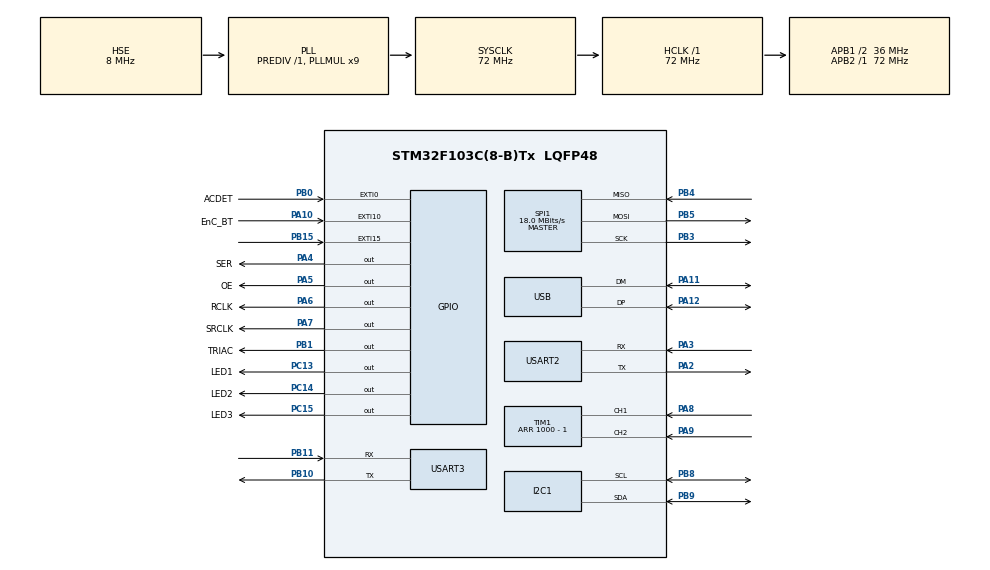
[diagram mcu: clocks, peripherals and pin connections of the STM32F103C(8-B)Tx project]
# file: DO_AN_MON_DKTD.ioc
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Mcu.Family=STM32F1
Mcu.Name=STM32F103C(8-B)Tx
Mcu.Package=LQFP48
NVIC.EXTI0_IRQn=true\:0\:0\:false\:false\:true\:true\:true\:true
NVIC.EXTI15_10_IRQn=true\:0\:0\:false\:false\:true\:true\:true\:true
NVIC.I2C1_EV_IRQn=true\:0\:0\:false\:false\:true\:true\:true\:true
NVIC.PVD_IRQn=true\:0\:0\:false\:false\:true\:true\:true\:true
NVIC.PriorityGroup=NVIC_PRIORITYGROUP_4
NVIC.SPI1_IRQn=true\:0\:0\:false\:false\:true\:true\:true\:true
NVIC.TIM1_UP_IRQn=true\:0\:0\:false\:false\:true\:true\:true\:true
NVIC.TIM2_IRQn=true\:0\:0\:false\:false\:true\:true\:true\:true
NVIC.TIM4_IRQn=true\:0\:0\:false\:false\:true\:true\:true\:true
NVIC.USART2_IRQn=true\:0\:0\:false\:false\:true\:true\:true\:true
NVIC.USART3_IRQn=true\:0\:0\:false\:false\:true\:true\:true\:true
PA10.GPIO_Label=EnC_BT
PA10.Signal=GPXTI10
PA11.Mode=Device
PA11.Signal=USB_DM
PA12.Mode=Device
PA12.Signal=USB_DP
PA13.Mode=Serial_Wire
PA13.Signal=SYS_JTMS-SWDIO
PA14.Mode=Serial_Wire
PA14.Signal=SYS_JTCK-SWCLK
PA2.Mode=Asynchronous
PA2.Signal=USART2_TX
PA3.Mode=Asynchronous
PA3.Signal=USART2_RX
PA4.GPIO_Label=SER
PA4.GPIO_ModeDefaultOutputPP=GPIO_MODE_OUTPUT_OD
PA4.GPIO_PuPd=GPIO_NOPULL
PA4.GPIO_Speed=GPIO_SPEED_FREQ_HIGH
PA4.Signal=GPIO_Output
PA5.GPIO_Label=OE
PA5.GPIO_ModeDefaultOutputPP=GPIO_MODE_OUTPUT_OD
PA5.GPIO_PuPd=GPIO_NOPULL
PA5.GPIO_Speed=GPIO_SPEED_FREQ_HIGH
PA5.Signal=GPIO_Output
PA6.GPIO_Label=RCLK
PA6.GPIO_ModeDefaultOutputPP=GPIO_MODE_OUTPUT_OD
PA6.GPIO_PuPd=GPIO_NOPULL
PA6.GPIO_Speed=GPIO_SPEED_FREQ_HIGH
PA6.Signal=GPIO_Output
PA7.GPIO_Label=SRCLK
PA7.GPIO_ModeDefaultOutputPP=GPIO_MODE_OUTPUT_OD
PA7.GPIO_PuPd=GPIO_NOPULL
PA7.GPIO_Speed=GPIO_SPEED_FREQ_HIGH
PA7.Signal=GPIO_Output
PA8.Signal=S_TIM1_CH1
PA9.Signal=S_TIM1_CH2
PB0.GPIO_Label=ACDET
PB0.GPIO_ModeDefaultEXTI=GPIO_MODE_IT_FALLING
PB0.Signal=GPXTI0
PB1.GPIO_Label=TRIAC
PB1.GPIO_ModeDefaultOutputPP=GPIO_MODE_OUTPUT_PP
PB1.GPIO_PuPd=GPIO_NOPULL
PB1.GPIO_Speed=GPIO_SPEED_FREQ_HIGH
PB1.Signal=GPIO_Output
PB10.Mode=Asynchronous
PB10.Signal=USART3_TX
PB11.Mode=Asynchronous
PB11.Signal=USART3_RX
PB15.Signal=GPXTI15
PB3.Mode=Full_Duplex_Master
PB3.Signal=SPI1_SCK
PB4.Mode=Full_Duplex_Master
PB4.Signal=SPI1_MISO
PB5.Mode=Full_Duplex_Master
PB5.Signal=SPI1_MOSI
PB8.Mode=I2C
PB8.Signal=I2C1_SCL
PB9.Mode=I2C
PB9.Signal=I2C1_SDA
PC13-TAMPER-RTC.GPIO_Label=LED1
PC13-TAMPER-RTC.GPIO_Speed=GPIO_SPEED_FREQ_HIGH
PC13-TAMPER-RTC.PinState=GPIO_PIN_SET
PC13-TAMPER-RTC.Signal=GPIO_Output
PC14-OSC32_IN.GPIO_Label=LED2
PC14-OSC32_IN.GPIO_Speed=GPIO_SPEED_FREQ_HIGH
PC14-OSC32_IN.PinState=GPIO_PIN_SET
PC14-OSC32_IN.Signal=GPIO_Output
PC15-OSC32_OUT.GPIO_Label=LED3
PC15-OSC32_OUT.GPIO_Speed=GPIO_SPEED_FREQ_HIGH
PC15-OSC32_OUT.PinState=GPIO_PIN_SET
PC15-OSC32_OUT.Signal=GPIO_Output
PD0-OSC_IN.Mode=HSE-External-Oscillator
PD0-OSC_IN.Signal=RCC_OSC_IN
PD1-OSC_OUT.Mode=HSE-External-Oscillator
PD1-OSC_OUT.Signal=RCC_OSC_OUT
ProjectManager.HeapSize=0x200
ProjectManager.StackSize=0x400
ProjectManager.TargetToolchain=STM32CubeIDE
RCC.AHBFreq_Value=72000000
RCC.APB1CLKDivider=RCC_HCLK_DIV2
RCC.APB1Freq_Value=36000000
RCC.APB1TimFreq_Value=72000000
RCC.APB2Freq_Value=72000000
RCC.APB2TimFreq_Value=72000000
RCC.HCLKFreq_Value=72000000
RCC.PLLMUL=RCC_PLL_MUL9
RCC.SYSCLKFreq_VALUE=72000000
RCC.SYSCLKSource=RCC_SYSCLKSOURCE_PLLCLK
RCC.USBFreq_Value=48000000
RCC.USBPrescaler=RCC_USBCLKSOURCE_PLL_DIV1_5
SH.S_TIM1_CH1.0=TIM1_CH1,Encoder_Interface
SH.S_TIM1_CH2.0=TIM1_CH2,Encoder_Interface
SPI1.BaudRatePrescaler=SPI_BAUDRATEPRESCALER_4
SPI1.CalculateBaudRate=18.0 MBits/s
SPI1.Direction=SPI_DIRECTION_2LINES
SPI1.Mode=SPI_MODE_MASTER
SPI1.VirtualType=VM_MASTER
TIM1.EncoderMode=TIM_ENCODERMODE_TI12
TIM1.Period=1000 - 1
TIM2.Period=10000
TIM2.Prescaler=72 - 1
TIM4.Period=10000
TIM4.Prescaler=72 - 1
USART2.VirtualMode=VM_ASYNC
USART3.VirtualMode=VM_ASYNC
VP_TIM2_VS_ClockSourceINT.Mode=Internal
VP_TIM4_VS_ClockSourceINT.Mode=Internal
board=custom

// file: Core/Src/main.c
/* USER CODE BEGIN Header */
/**
  ******************************************************************************
  * @file           : main.c
  * @brief          : Main program body
  ******************************************************************************
  * @attention
  *
  * Copyright (c) 2023 STMicroelectronics.
  * All rights reserved.
  *
  * This software is licensed under terms that can be found in the LICENSE file
  * in the root directory of this software component.
  * If no LICENSE file comes with this software, it is provided AS-IS.
  *
  ******************************************************************************
  */
/* USER CODE END Header */
#include "main.h"

/* USER CODE BEGIN Includes */
#include <stdio.h>
#include <stdlib.h>
#include <string.h>
#include "SHT31.h"
/* USER CODE END Includes */

/* USER CODE BEGIN PTD */
typedef struct {
  double giaTriTinh_HienTai, giaTriTinh_Truoc, giaTriDieuKhien;
  double e, e1, e2, nhietDo, giaTriDat;
} PID_type;
/* USER CODE END PTD */

/* USER CODE BEGIN PM */

#define CHECKFLAG(FLAG, variable) (variable & FLAG ? 1 : 0)
#define SETFLAG(FLAG, variable) (variable |= (FLAG))
#define CLEARFLAG(FLAG, variable) (variable &= ~(FLAG))

#define FLAG_ACDET_TRIGGER 	(1 << 0)
#define FLAG_TIM_OVERFLOW 	(1 << 1)
#define FLAG_COMPLETE_RECEIVE_UART (1 << 2)
#define FLAG_BLINK_7SEGMENT (1 << 3)
#define FLAG_SETUP_SETPOINT (1 << 4)

#define SEGMENT_A	(1 << 0)
#define SEGMENT_B	(1 << 2)
#define SEGMENT_C	(1 << 4)
#define SEGMENT_D	(1 << 6)
#define SEGMENT_E	(1 << 7)
#define SEGMENT_F	(1 << 1)
#define SEGMENT_G	(1 << 3)
#define SEGMENT_DOT	(1 << 5)

#define SO_LAN_DO_SHT31 50

#define SETPOINT 50
/* USER CODE END PM */

I2C_HandleTypeDef hi2c1;

SPI_HandleTypeDef hspi1;

TIM_HandleTypeDef htim1;
TIM_HandleTypeDef htim2;
TIM_HandleTypeDef htim4;

UART_HandleTypeDef huart2;
UART_HandleTypeDef huart3;

PCD_HandleTypeDef hpcd_USB_FS;

/* USER CODE BEGIN PV */

//array data export to 7 segment

double KP = 0.65, KI = 0.0001, KD = 0, TG_LAY_MAU = 1;

PID_type triac = {0, 0, 0, 0, 0, 0, 0, 0};

SHT31_type SHT31;

uint8_t s7seg[7] = {0};
//7 segment code
const char code7seg[] = {0xD7, 0x14, 0xCD, 0x5D, 0x1E, 0x5B, 0xDB, 0x15, 0xDF, 0x5F};

uint8_t flag = 0;

uint8_t str[50] = {0};
uint8_t rx_str_uart3[10] = {0};
uint8_t Get_rx_str[1] = {0};
volatile uint16_t encoderValue = 0;
//uint8_t i;
/* USER CODE END PV */

void SystemClock_Config(void);
static void MX_GPIO_Init(void);
static void MX_I2C1_Init(void);
static void MX_SPI1_Init(void);
static void MX_USART2_UART_Init(void);
static void MX_USART3_UART_Init(void);
static void MX_USB_PCD_Init(void);
static void MX_TIM2_Init(void);
static void MX_TIM4_Init(void);
static void MX_TIM1_Init(void);

/* USER CODE BEGIN 0 */
void HAL_TIM_PeriodElapsedCallback(TIM_HandleTypeDef* htim);
void HAL_GPIO_EXTI_Callback(uint16_t GPIO_Pin);

void HAL_UART_RxCpltCallback(UART_HandleTypeDef *huart);

HAL_StatusTypeDef PID_Caculator(PID_type* x);
void sendData74595(uint16_t data);
void Scan7seg();

void xuLyChuoiNhanVeTuLaptop();
/* USER CODE END 0 */

int main(void)
{
  /* USER CODE BEGIN 1 */
	uint32_t t = 0;
	uint32_t tBlink = 0;
  /* USER CODE END 1 */

  /* MCU Configuration--------------------------------------------------------*/

  /* Reset of all peripherals, Initializes the Flash interface and the Systick. */
  HAL_Init();

  /* Configure the system clock */
  SystemClock_Config();

  /* Initialize all configured peripherals */
  MX_GPIO_Init();
  MX_I2C1_Init();
  MX_SPI1_Init();
  MX_USART2_UART_Init();
  MX_USART3_UART_Init();
  MX_USB_PCD_Init();
  MX_TIM2_Init();
  MX_TIM4_Init();
  MX_TIM1_Init();
  /* USER CODE BEGIN 2 */

  HAL_UART_Receive_IT(&huart3, Get_rx_str, 1);
  HAL_UART_Receive_IT(&huart2, Get_rx_str, 1);
//  HAL_TIM_Base_Start_IT(&htim4);
  HAL_TIM_Base_Stop_IT(&htim4);
  HAL_TIM_Encoder_Start_IT(&htim1, TIM_CHANNEL_ALL);

  triac.giaTriDat = SETPOINT;
  __HAL_TIM_SET_COUNTER(&htim1, SETPOINT * 10);
  s7seg[3] = s7seg[4] = s7seg[5] = s7seg[6] = SEGMENT_G;

  while(SHT31_init(&SHT31, &hi2c1) != HAL_OK){
	if(HAL_GetTick() - t >= 500){
		t = HAL_GetTick();
		if(s7seg[0] == 0x00){
			s7seg[0] = SEGMENT_A | SEGMENT_D | SEGMENT_E | SEGMENT_F | SEGMENT_G;
			s7seg[1] = s7seg[2] = SEGMENT_E | SEGMENT_G;
		}
		else{
			s7seg[0] = s7seg[1] = s7seg[2] = 0x00;
		}
	}
	Scan7seg();
  }
  /* USER CODE END 2 */

  /* Infinite loop */
  /* USER CODE BEGIN WHILE */
  while (1)
  {
	  if(HAL_GetTick() - t >= (uint32_t)(1000 * TG_LAY_MAU)){
		  t = HAL_GetTick();

		  SHT31_WriteCMD(&SHT31, SHT31_MEASUREMENT_FAST);
		  while(SHT31_ReadTemperature(&SHT31, &triac.nhietDo) != HAL_OK);

		  PID_Caculator(&triac);

		  sprintf(str, "%-2.2lf°C, %-2.2lf°C, %-2.2lf°C, %-2.2lf\n", triac.nhietDo, triac.giaTriDat, triac.e, triac.giaTriDieuKhien);
		  HAL_UART_Transmit(&huart3, str, sizeof(str), 10000);
		  s7seg[0] = code7seg[(uint16_t)triac.nhietDo / 10];
		  s7seg[1] = code7seg[(uint16_t)triac.nhietDo % 10] | SEGMENT_DOT;
		  s7seg[2] = code7seg[(uint16_t)(triac.nhietDo * 10) % 10];
	  }

	  if(CHECKFLAG(FLAG_COMPLETE_RECEIVE_UART, flag)){
		  xuLyChuoiNhanVeTuLaptop();
		  memset(str, 0, sizeof(str));
		  CLEARFLAG(FLAG_COMPLETE_RECEIVE_UART, flag);
	  }

	  if(!CHECKFLAG(FLAG_SETUP_SETPOINT, flag)){
		  encoderValue = __HAL_TIM_GetCounter(&htim1);
		  triac.giaTriDat = (double)encoderValue / 10;
			if(HAL_GetTick() - tBlink >= 300){
				tBlink = HAL_GetTick();
				if(s7seg[3] == 0x00){
					s7seg[3] = code7seg[encoderValue / 100];
					s7seg[4] = code7seg[encoderValue / 10 % 10] | SEGMENT_DOT;
					s7seg[5] = code7seg[encoderValue % 10];
				}
				else{
					s7seg[3] = s7seg[4] = s7seg[5] = 0x00;
				}
			}

	  }
    /* USER CODE END WHILE */

    /* USER CODE BEGIN 3 */
	  Scan7seg();
  }
  /* USER CODE END 3 */
}

void SystemClock_Config(void)
{
  RCC_OscInitTypeDef RCC_OscInitStruct = {0};
  RCC_ClkInitTypeDef RCC_ClkInitStruct = {0};
  RCC_PeriphCLKInitTypeDef PeriphClkInit = {0};

  /** Initializes the RCC Oscillators according to the specified parameters
  * in the RCC_OscInitTypeDef structure.
  */
  RCC_OscInitStruct.OscillatorType = RCC_OSCILLATORTYPE_HSE;
  RCC_OscInitStruct.HSEState = RCC_HSE_ON;
  RCC_OscInitStruct.HSEPredivValue = RCC_HSE_PREDIV_DIV1;
  RCC_OscInitStruct.HSIState = RCC_HSI_ON;
  RCC_OscInitStruct.PLL.PLLState = RCC_PLL_ON;
  RCC_OscInitStruct.PLL.PLLSource = RCC_PLLSOURCE_HSE;
  RCC_OscInitStruct.PLL.PLLMUL = RCC_PLL_MUL9;
  if (HAL_RCC_OscConfig(&RCC_OscInitStruct) != HAL_OK)
  {
    Error_Handler();
  }

  /** Initializes the CPU, AHB and APB buses clocks
  */
  RCC_ClkInitStruct.ClockType = RCC_CLOCKTYPE_HCLK|RCC_CLOCKTYPE_SYSCLK
                              |RCC_CLOCKTYPE_PCLK1|RCC_CLOCKTYPE_PCLK2;
  RCC_ClkInitStruct.SYSCLKSource = RCC_SYSCLKSOURCE_PLLCLK;
  RCC_ClkInitStruct.AHBCLKDivider = RCC_SYSCLK_DIV1;
  RCC_ClkInitStruct.APB1CLKDivider = RCC_HCLK_DIV2;
  RCC_ClkInitStruct.APB2CLKDivider = RCC_HCLK_DIV1;

  if (HAL_RCC_ClockConfig(&RCC_ClkInitStruct, FLASH_LATENCY_2) != HAL_OK)
  {
    Error_Handler();
  }
  PeriphClkInit.PeriphClockSelection = RCC_PERIPHCLK_USB;
  PeriphClkInit.UsbClockSelection = RCC_USBCLKSOURCE_PLL_DIV1_5;
  if (HAL_RCCEx_PeriphCLKConfig(&PeriphClkInit) != HAL_OK)
  {
    Error_Handler();
  }
}

static void MX_I2C1_Init(void)
{

  hi2c1.Instance = I2C1;
  hi2c1.Init.ClockSpeed = 100000;
  hi2c1.Init.DutyCycle = I2C_DUTYCYCLE_2;
  hi2c1.Init.OwnAddress1 = 0;
  hi2c1.Init.AddressingMode = I2C_ADDRESSINGMODE_7BIT;
  hi2c1.Init.DualAddressMode = I2C_DUALADDRESS_DISABLE;
  hi2c1.Init.OwnAddress2 = 0;
  hi2c1.Init.GeneralCallMode = I2C_GENERALCALL_DISABLE;
  hi2c1.Init.NoStretchMode = I2C_NOSTRETCH_DISABLE;
  if (HAL_I2C_Init(&hi2c1) != HAL_OK)
  {
    Error_Handler();
  }

}

static void MX_SPI1_Init(void)
{

  /* SPI1 parameter configuration*/
  hspi1.Instance = SPI1;
  hspi1.Init.Mode = SPI_MODE_MASTER;
  hspi1.Init.Direction = SPI_DIRECTION_2LINES;
  hspi1.Init.DataSize = SPI_DATASIZE_8BIT;
  hspi1.Init.CLKPolarity = SPI_POLARITY_LOW;
  hspi1.Init.CLKPhase = SPI_PHASE_1EDGE;
  hspi1.Init.NSS = SPI_NSS_SOFT;
  hspi1.Init.BaudRatePrescaler = SPI_BAUDRATEPRESCALER_4;
  hspi1.Init.FirstBit = SPI_FIRSTBIT_MSB;
  hspi1.Init.TIMode = SPI_TIMODE_DISABLE;
  hspi1.Init.CRCCalculation = SPI_CRCCALCULATION_DISABLE;
  hspi1.Init.CRCPolynomial = 10;
  if (HAL_SPI_Init(&hspi1) != HAL_OK)
  {
    Error_Handler();
  }

}

static void MX_TIM1_Init(void)
{

  TIM_Encoder_InitTypeDef sConfig = {0};
  TIM_MasterConfigTypeDef sMasterConfig = {0};

  htim1.Instance = TIM1;
  htim1.Init.Prescaler = 0;
  htim1.Init.CounterMode = TIM_COUNTERMODE_UP;
  htim1.Init.Period = 1000 - 1;
  htim1.Init.ClockDivision = TIM_CLOCKDIVISION_DIV1;
  htim1.Init.RepetitionCounter = 0;
  htim1.Init.AutoReloadPreload = TIM_AUTORELOAD_PRELOAD_DISABLE;
  sConfig.EncoderMode = TIM_ENCODERMODE_TI12;
  sConfig.IC1Polarity = TIM_ICPOLARITY_RISING;
  sConfig.IC1Selection = TIM_ICSELECTION_DIRECTTI;
  sConfig.IC1Prescaler = TIM_ICPSC_DIV1;
  sConfig.IC1Filter = 0;
  sConfig.IC2Polarity = TIM_ICPOLARITY_RISING;
  sConfig.IC2Selection = TIM_ICSELECTION_DIRECTTI;
  sConfig.IC2Prescaler = TIM_ICPSC_DIV1;
  sConfig.IC2Filter = 0;
  if (HAL_TIM_Encoder_Init(&htim1, &sConfig) != HAL_OK)
  {
    Error_Handler();
  }
  sMasterConfig.MasterOutputTrigger = TIM_TRGO_RESET;
  sMasterConfig.MasterSlaveMode = TIM_MASTERSLAVEMODE_DISABLE;
  if (HAL_TIMEx_MasterConfigSynchronization(&htim1, &sMasterConfig) != HAL_OK)
  {
    Error_Handler();
  }

}

static void MX_TIM2_Init(void)
{

  TIM_ClockConfigTypeDef sClockSourceConfig = {0};
  TIM_MasterConfigTypeDef sMasterConfig = {0};

  htim2.Instance = TIM2;
  htim2.Init.Prescaler = 72 - 1;
  htim2.Init.CounterMode = TIM_COUNTERMODE_UP;
  htim2.Init.Period = 10000;
  htim2.Init.ClockDivision = TIM_CLOCKDIVISION_DIV1;
  htim2.Init.AutoReloadPreload = TIM_AUTORELOAD_PRELOAD_DISABLE;
  if (HAL_TIM_Base_Init(&htim2) != HAL_OK)
  {
    Error_Handler();
  }
  sClockSourceConfig.ClockSource = TIM_CLOCKSOURCE_INTERNAL;
  if (HAL_TIM_ConfigClockSource(&htim2, &sClockSourceConfig) != HAL_OK)
  {
    Error_Handler();
  }
  sMasterConfig.MasterOutputTrigger = TIM_TRGO_RESET;
  sMasterConfig.MasterSlaveMode = TIM_MASTERSLAVEMODE_DISABLE;
  if (HAL_TIMEx_MasterConfigSynchronization(&htim2, &sMasterConfig) != HAL_OK)
  {
    Error_Handler();
  }

}

static void MX_TIM4_Init(void)
{

  TIM_ClockConfigTypeDef sClockSourceConfig = {0};
  TIM_MasterConfigTypeDef sMasterConfig = {0};

  htim4.Instance = TIM4;
  htim4.Init.Prescaler = 72 - 1;
  htim4.Init.CounterMode = TIM_COUNTERMODE_UP;
  htim4.Init.Period = 10000;
  htim4.Init.ClockDivision = TIM_CLOCKDIVISION_DIV1;
  htim4.Init.AutoReloadPreload = TIM_AUTORELOAD_PRELOAD_DISABLE;
  if (HAL_TIM_Base_Init(&htim4) != HAL_OK)
  {
    Error_Handler();
  }
  sClockSourceConfig.ClockSource = TIM_CLOCKSOURCE_INTERNAL;
  if (HAL_TIM_ConfigClockSource(&htim4, &sClockSourceConfig) != HAL_OK)
  {
    Error_Handler();
  }
  sMasterConfig.MasterOutputTrigger = TIM_TRGO_RESET;
  sMasterConfig.MasterSlaveMode = TIM_MASTERSLAVEMODE_DISABLE;
  if (HAL_TIMEx_MasterConfigSynchronization(&htim4, &sMasterConfig) != HAL_OK)
  {
    Error_Handler();
  }

}

static void MX_USART2_UART_Init(void)
{

  huart2.Instance = USART2;
  huart2.Init.BaudRate = 115200;
  huart2.Init.WordLength = UART_WORDLENGTH_8B;
  huart2.Init.StopBits = UART_STOPBITS_1;
  huart2.Init.Parity = UART_PARITY_NONE;
  huart2.Init.Mode = UART_MODE_TX_RX;
  huart2.Init.HwFlowCtl = UART_HWCONTROL_NONE;
  huart2.Init.OverSampling = UART_OVERSAMPLING_16;
  if (HAL_UART_Init(&huart2) != HAL_OK)
  {
    Error_Handler();
  }

}

static void MX_USART3_UART_Init(void)
{

  huart3.Instance = USART3;
  huart3.Init.BaudRate = 115200;
  huart3.Init.WordLength = UART_WORDLENGTH_8B;
  huart3.Init.StopBits = UART_STOPBITS_1;
  huart3.Init.Parity = UART_PARITY_NONE;
  huart3.Init.Mode = UART_MODE_TX_RX;
  huart3.Init.HwFlowCtl = UART_HWCONTROL_NONE;
  huart3.Init.OverSampling = UART_OVERSAMPLING_16;
  if (HAL_UART_Init(&huart3) != HAL_OK)
  {
    Error_Handler();
  }

}

static void MX_USB_PCD_Init(void)
{

  hpcd_USB_FS.Instance = USB;
  hpcd_USB_FS.Init.dev_endpoints = 8;
  hpcd_USB_FS.Init.speed = PCD_SPEED_FULL;
  hpcd_USB_FS.Init.low_power_enable = DISABLE;
  hpcd_USB_FS.Init.lpm_enable = DISABLE;
  hpcd_USB_FS.Init.battery_charging_enable = DISABLE;
  if (HAL_PCD_Init(&hpcd_USB_FS) != HAL_OK)
  {
    Error_Handler();
  }

}

static void MX_GPIO_Init(void)
{
  GPIO_InitTypeDef GPIO_InitStruct = {0};

  /* GPIO Ports Clock Enable */
  __HAL_RCC_GPIOC_CLK_ENABLE();
  __HAL_RCC_GPIOD_CLK_ENABLE();
  __HAL_RCC_GPIOA_CLK_ENABLE();
  __HAL_RCC_GPIOB_CLK_ENABLE();

  /*Configure GPIO pin Output Level */
  HAL_GPIO_WritePin(GPIOC, LED1_Pin|LED2_Pin|LED3_Pin, GPIO_PIN_SET);

  /*Configure GPIO pin Output Level */
  HAL_GPIO_WritePin(GPIOA, SER_Pin|OE_Pin|RCLK_Pin|SRCLK_Pin, GPIO_PIN_RESET);

  /*Configure GPIO pin Output Level */
  HAL_GPIO_WritePin(TRIAC_GPIO_Port, TRIAC_Pin, GPIO_PIN_RESET);

  /*Configure GPIO pins : LED1_Pin LED2_Pin LED3_Pin */
  GPIO_InitStruct.Pin = LED1_Pin|LED2_Pin|LED3_Pin;
  GPIO_InitStruct.Mode = GPIO_MODE_OUTPUT_PP;
  GPIO_InitStruct.Pull = GPIO_NOPULL;
  GPIO_InitStruct.Speed = GPIO_SPEED_FREQ_HIGH;
  HAL_GPIO_Init(GPIOC, &GPIO_InitStruct);

  /*Configure GPIO pins : SER_Pin OE_Pin RCLK_Pin SRCLK_Pin */
  GPIO_InitStruct.Pin = SER_Pin|OE_Pin|RCLK_Pin|SRCLK_Pin;
  GPIO_InitStruct.Mode = GPIO_MODE_OUTPUT_OD;
  GPIO_InitStruct.Pull = GPIO_NOPULL;
  GPIO_InitStruct.Speed = GPIO_SPEED_FREQ_HIGH;
  HAL_GPIO_Init(GPIOA, &GPIO_InitStruct);

  /*Configure GPIO pin : ACDET_Pin */
  GPIO_InitStruct.Pin = ACDET_Pin;
  GPIO_InitStruct.Mode = GPIO_MODE_IT_FALLING;
  GPIO_InitStruct.Pull = GPIO_NOPULL;
  HAL_GPIO_Init(ACDET_GPIO_Port, &GPIO_InitStruct);

  /*Configure GPIO pin : TRIAC_Pin */
  GPIO_InitStruct.Pin = TRIAC_Pin;
  GPIO_InitStruct.Mode = GPIO_MODE_OUTPUT_PP;
  GPIO_InitStruct.Pull = GPIO_NOPULL;
  GPIO_InitStruct.Speed = GPIO_SPEED_FREQ_HIGH;
  HAL_GPIO_Init(TRIAC_GPIO_Port, &GPIO_InitStruct);

  /*Configure GPIO pin : PB15 */
  GPIO_InitStruct.Pin = GPIO_PIN_15;
  GPIO_InitStruct.Mode = GPIO_MODE_IT_RISING;
  GPIO_InitStruct.Pull = GPIO_NOPULL;
  HAL_GPIO_Init(GPIOB, &GPIO_InitStruct);

  /*Configure GPIO pin : EnC_BT_Pin */
  GPIO_InitStruct.Pin = EnC_BT_Pin;
  GPIO_InitStruct.Mode = GPIO_MODE_IT_RISING;
  GPIO_InitStruct.Pull = GPIO_NOPULL;
  HAL_GPIO_Init(EnC_BT_GPIO_Port, &GPIO_InitStruct);

  /* EXTI interrupt init*/
  HAL_NVIC_SetPriority(EXTI0_IRQn, 0, 0);
  HAL_NVIC_EnableIRQ(EXTI0_IRQn);

  HAL_NVIC_SetPriority(EXTI15_10_IRQn, 0, 0);
  HAL_NVIC_EnableIRQ(EXTI15_10_IRQn);

}

/* USER CODE BEGIN 4 */

HAL_StatusTypeDef PID_Caculator(PID_type* x) {
  static double alpha, beta, gamma;

  x->e = x->giaTriDat - x->nhietDo;
  alpha = 2 * TG_LAY_MAU * KP + KI * TG_LAY_MAU * TG_LAY_MAU + 2 * KD;
  beta = TG_LAY_MAU * TG_LAY_MAU * KI - 4 * KD - 2 * TG_LAY_MAU * KP;
  gamma = 2 * KD;
  x->giaTriTinh_HienTai = (alpha * x->e + beta * x->e1 +
		gamma * x->e2 + 2 * TG_LAY_MAU * x->giaTriTinh_Truoc) / (2 * TG_LAY_MAU);

  x->giaTriTinh_Truoc = x->giaTriTinh_HienTai;
  x->e2 = x->e1;
  x->e1 = x->e;

  if (x->giaTriTinh_HienTai > 9)
    x->giaTriTinh_HienTai = 9;
  else if (x->giaTriTinh_HienTai <= 1)
    x->giaTriTinh_HienTai = 1;

  x->giaTriDieuKhien = x->giaTriTinh_HienTai; /***************/

  return HAL_OK;
}

void HAL_TIM_PeriodElapsedCallback(TIM_HandleTypeDef* htim){
	  if (htim->Instance == TIM4) {
	    if (CHECKFLAG(FLAG_ACDET_TRIGGER, flag)) {
	      CLEARFLAG(FLAG_ACDET_TRIGGER, flag);
	      HAL_GPIO_WritePin(TRIAC_GPIO_Port, TRIAC_Pin, 1);
	      for(uint8_t i = 0; i < 60; i++);
	      HAL_GPIO_WritePin(TRIAC_GPIO_Port, TRIAC_Pin, 0);
	    }
	  }
}
void HAL_GPIO_EXTI_Callback(uint16_t GPIO_Pin){
	if(GPIO_Pin == ACDET_Pin){
		SETFLAG(FLAG_ACDET_TRIGGER, flag);
		__HAL_TIM_SET_COUNTER(&htim4, (uint16_t)(triac.giaTriDieuKhien * 1000));
//		__HAL_TIM_SET_COUNTER(&htim4, 9000);
	}
	if(GPIO_Pin == EnC_BT_Pin){
		if(CHECKFLAG(FLAG_SETUP_SETPOINT, flag)){
			HAL_TIM_Base_Stop_IT(&htim4);
			CLEARFLAG(FLAG_SETUP_SETPOINT, flag);
			s7seg[3] = s7seg[4] = s7seg[5] = s7seg[6] = SEGMENT_G;
		}
		else{
			SETFLAG(FLAG_SETUP_SETPOINT, flag);
			s7seg[3] = code7seg[encoderValue / 100];
			s7seg[4] = code7seg[encoderValue / 10 % 10] | SEGMENT_DOT;
			s7seg[5] = code7seg[encoderValue % 10];
			s7seg[6] = SEGMENT_A | SEGMENT_B | SEGMENT_F | SEGMENT_G;
			HAL_TIM_Base_Start_IT(&htim4);
		}
	}
}

/*
 * brief: send data 16 bit to two 74595
 * */
void sendData74595(uint16_t data){
	for (uint8_t i = 0; i < 16; i++) {
		HAL_GPIO_WritePin(SER_GPIO_Port, SER_Pin, (data >> i) & 0x01);
		//nhịp 1 xung cạnh xuống đưa dữ liệu vào tầng lưu trữ
		HAL_GPIO_WritePin(SRCLK_GPIO_Port, SRCLK_Pin, 0);
		HAL_GPIO_WritePin(SRCLK_GPIO_Port, SRCLK_Pin, 1);
	}
	HAL_GPIO_WritePin(RCLK_GPIO_Port, RCLK_Pin, 0);
	HAL_GPIO_WritePin(RCLK_GPIO_Port, RCLK_Pin, 1);
}
/*
 * brief: export data in S7seg variable
 * warning SHOUDLE BE CALL WHILE(TRUE)
 * */
void Scan7seg(){
	static uint32_t T_delay = 0;
	static uint8_t index = 0;
	if(index < 7){
		if(HAL_GetTick() - T_delay >= 1) {
			T_delay = HAL_GetTick();
			sendData74595((0x0100 << index) | s7seg[index]);
			index++;
		}
	}
	else{
		index = 0;
	}
}

void HAL_UART_RxCpltCallback(UART_HandleTypeDef *huart){
	static uint8_t i = 0;
	if(huart->Instance == huart3.Instance){
		HAL_UART_Receive_IT(&huart3, Get_rx_str, 1);
		if(Get_rx_str[0] == 'x'){
			SETFLAG(FLAG_COMPLETE_RECEIVE_UART, flag);
			i = 0;
		}
		else{
			rx_str_uart3[i++] = Get_rx_str[0];
		}
	}
	if(huart->Instance == huart2.Instance){
		HAL_UART_Receive_IT(&huart2, Get_rx_str, 1);
		switch(Get_rx_str[0]){
		case 'a':
			HAL_GPIO_WritePin(LED1_GPIO_Port, LED1_Pin, 0);
			break;
		case 'b':
			HAL_GPIO_WritePin(LED1_GPIO_Port, LED1_Pin, 1);
			break;
		case 'c':
			HAL_GPIO_WritePin(LED2_GPIO_Port, LED2_Pin, 0);
			break;
		case 'd':
			HAL_GPIO_WritePin(LED2_GPIO_Port, LED2_Pin, 1);
		}
	}
}

void xuLyChuoiNhanVeTuLaptop(){
	double val = atof(rx_str_uart3 + 2);

	if(rx_str_uart3[0] == 'k'){
		if(rx_str_uart3[1] == 'p'){
			KP = val;
		}
		else if(rx_str_uart3[1] == 'i'){
			KI = val;
		}
		else if(rx_str_uart3[1] == 'd'){
			KD = val;
		}
	}
	else if(rx_str_uart3[0] == 's' && rx_str_uart3[1] == 'p'){
		triac.giaTriDat = val;
		//	triac.giaTriDat = atof(rx_str);
		s7seg[3] = code7seg[(uint8_t)(triac.giaTriDat / 10)];
		s7seg[4] = code7seg[(uint8_t)triac.giaTriDat % 10] | SEGMENT_DOT;
		s7seg[5] = code7seg[(uint16_t)(triac.giaTriDat * 10) % 10];
		s7seg[6] = SEGMENT_G | SEGMENT_E | SEGMENT_D;

	}
	else if(rx_str_uart3[0] == 't' && rx_str_uart3[1] == 'g'){
		TG_LAY_MAU = val;
	}
	sprintf(str, "\n\n%lf, %lf, %lf, %lf\n\n", KP, KI, KD, TG_LAY_MAU);
	HAL_UART_Transmit(&huart3, str, sizeof(str), 10000);
}
/* USER CODE END 4 */

void Error_Handler(void)
{
  __disable_irq();
  while (1)
  {
  }
}
